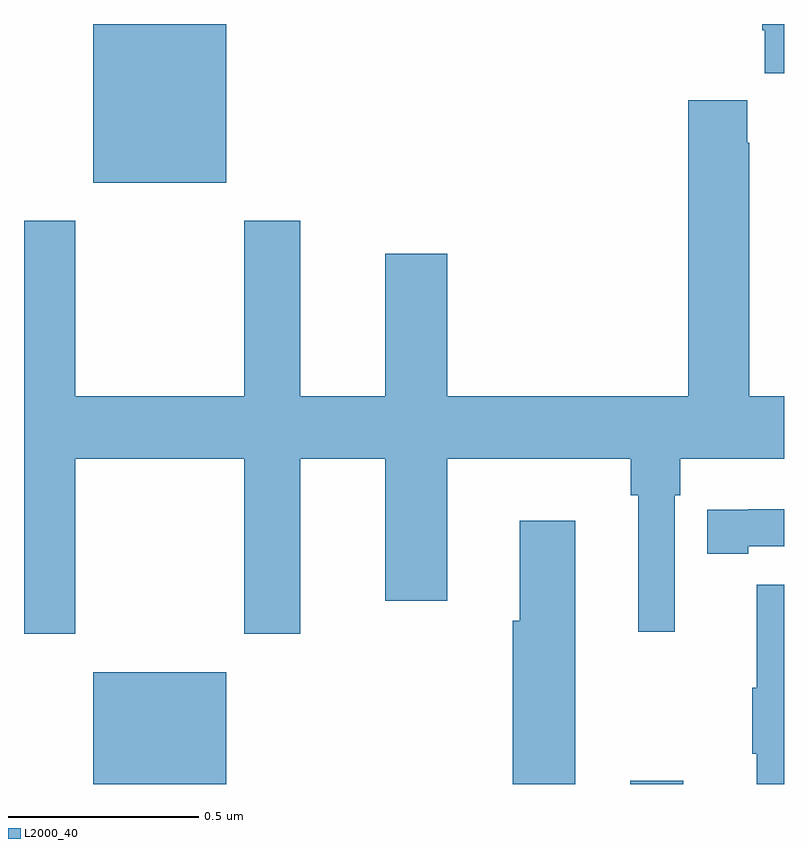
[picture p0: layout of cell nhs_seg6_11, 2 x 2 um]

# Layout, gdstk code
import gdstk
lib = gdstk.Library(unit=1e-6, precision=1e-09)
def R(c, l, rs):  # rectangles x0, y0, x1, y1
    for r in rs: c.add(gdstk.rectangle(r[:2], r[2:], *l))
def P(c, l, *ps):  # polygons
    for p in ps: c.add(gdstk.Polygon(p, *l))
L2000_40 = (2000, 40)

nhs_seg6_11 = lib.new_cell('nhs_seg6_11')
R(nhs_seg6_11, L2000_40, [(111.182,926.5,111.532,926.794), (112.595,926.5,112.735,926.509), (111.182,928.082,111.532,928.5)])
P(nhs_seg6_11, L2000_40, [(113,928.5),(112.943,928.5),(112.943,928.483),(112.949,928.483),(112.949,928.371),(113,928.371)],
  [(111.135,927.356),(111.58,927.356),(111.58,926.895),(111.727,926.895),(111.727,927.356),(111.95,927.356),(111.95,926.982),(112.114,926.982),(112.114,927.356),(112.597,927.356),(112.597,927.26),(112.616,927.26),(112.616,926.901),(112.713,926.901),(112.713,927.26),(112.727,927.26),(112.727,927.356),(113,927.356),(113,927.52),(112.908,927.52),(112.908,928.187),(112.903,928.187),(112.903,928.3),(112.748,928.3),(112.748,927.52),(112.114,927.52),(112.114,927.895),(111.95,927.895),(111.95,927.52),(111.727,927.52),(111.727,927.982),(111.58,927.982),(111.58,927.52),(111.135,927.52),(111.135,927.982),(111,927.982),(111,926.895),(111.135,926.895)],
  [(112.906,927.126),(113,927.126),(113,927.223),(112.906,927.223),(112.906,927.222),(112.798,927.222),(112.798,927.106),(112.906,927.106)],
  [(112.45,927.193),(112.304,927.193),(112.304,926.929),(112.286,926.929),(112.286,926.5),(112.45,926.5)],
  [(113,927.025),(112.928,927.025),(112.928,926.753),(112.917,926.753),(112.917,926.579),(112.928,926.579),(112.928,926.5),(113,926.5)])

lib.write_gds('nhs_seg6_11.gds')
